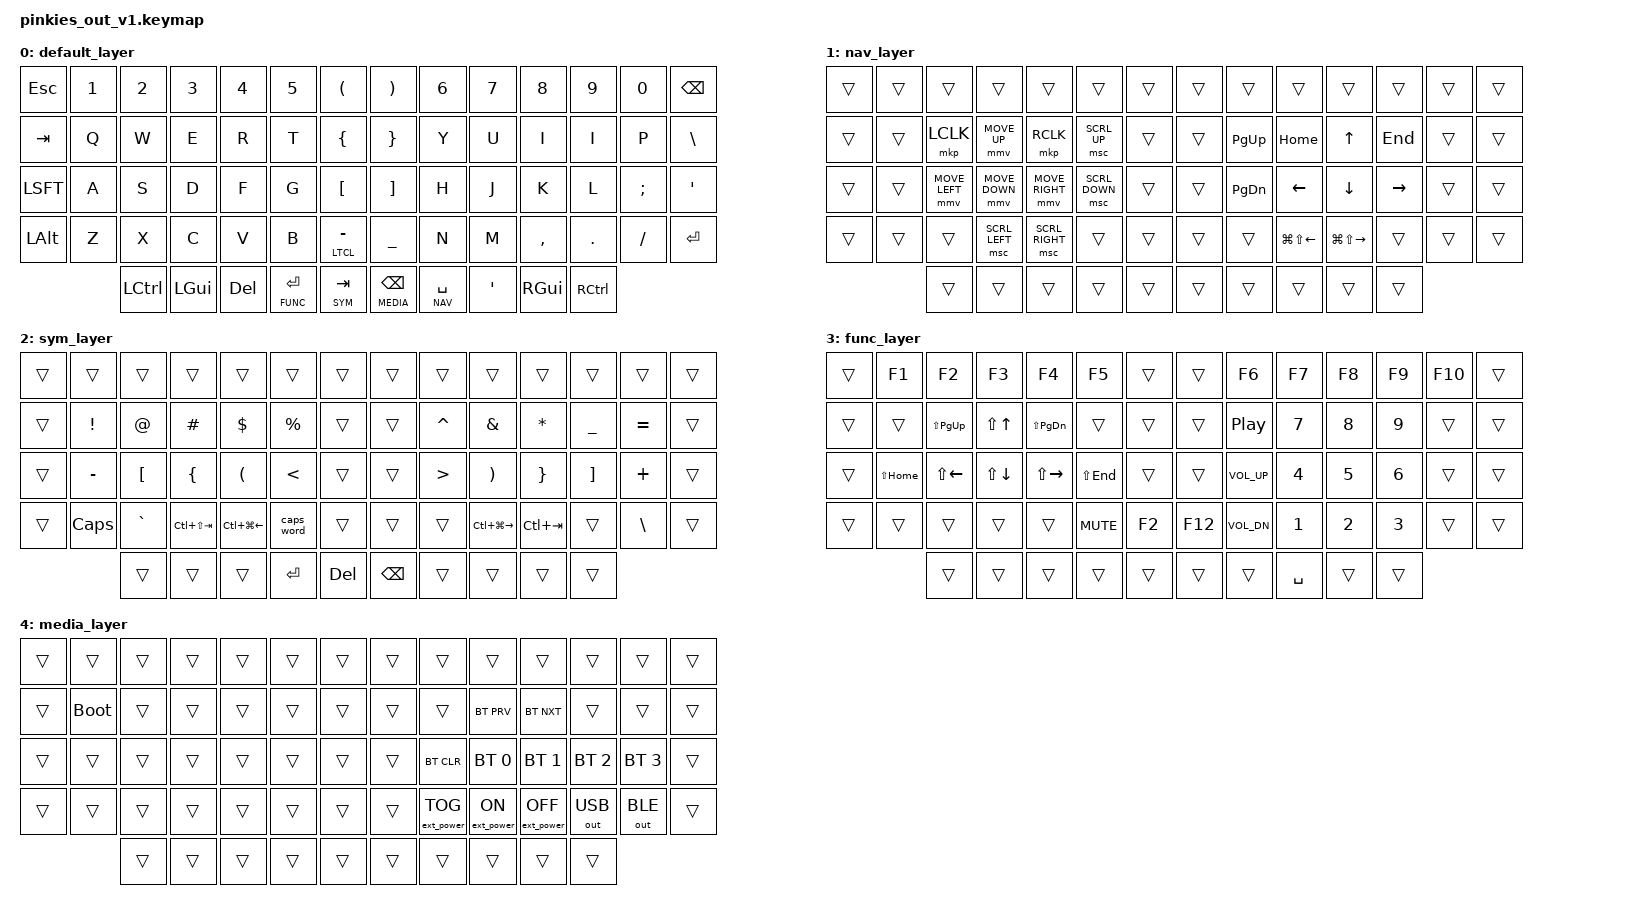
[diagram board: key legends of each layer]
#include <behaviors.dtsi>
#include <dt-bindings/zmk/keys.h>
#include <dt-bindings/zmk/bt.h>
#include <dt-bindings/zmk/ext_power.h>
#include <dt-bindings/zmk/outputs.h>
#include <dt-bindings/zmk/mouse.h>
#include <behaviors/mouse_keys.dtsi>
#include <dt-bindings/zmk/pointing.h>

#define ZMK_POINTING_DEFAULT_MOVE_VAL 600
#define ZMK_POINTING_DEFAULT_SCRL_VAL 10

#define DEFAULT 0
#define NAV     1
#define SYM     2
#define FUNC    3
#define MEDIA   4
#define WINNAV  5

&caps_word {
    continue-list = <UNDERSCORE MINUS>;
};

/ {
    behaviors {
        lt: layer_tap {
            compatible = "zmk,behavior-hold-tap";
            #binding-cells = <2>;
            tapping-term-ms = <150>; 
            quick-tap-ms = <120>;
            flavor = "balanced";
            bindings = <&mo>, <&kp>;
        };
    };


    keymap {
        compatible = "zmk,keymap";

        default_layer {
            bindings = <
    &kp ESC    &kp N1      &kp N2      &kp N3      &kp N4        &kp N5       &kp LPAR             &kp RPAR        &kp N6         &kp N7        &kp N8        &kp N9      &kp N0      &kp BSPC
    &kp TAB    &kp Q       &kp W       &kp E       &kp R         &kp T        &kp LBRC             &kp RBRC        &kp Y          &kp U         &kp I         &kp I       &kp P       &kp BSLH
    &kp LSFT   &kp A       &kp S       &kp D       &kp F         &kp G        &kp LBKT             &kp RBKT        &kp H          &kp J         &kp K         &kp L       &kp SEMI    &kp SQT
    &kp LALT   &kp Z       &kp X       &kp C       &kp V         &kp B        &mt LTCL MINUS       &kp UNDER       &kp N          &kp M         &kp COMMA     &kp DOT     &kp FSLH    &kp RET
                           &kp LCTL    &kp LGUI    &kp DEL       &lt FUNC RET &lt SYM TAB          &lt MEDIA BSPC  &lt NAV SPACE  &kp SQT       &kp RGUI      &kp RCTL
            >;
        };

        nav_layer {
            bindings = <
    &trans  &trans      &trans         &trans         &trans          &trans         &trans               &trans     &trans        &trans           &trans            &trans      &trans      &trans
    &trans  &trans      &mkp LCLK      &mmv MOVE_UP   &mkp RCLK       &msc SCRL_UP   &trans               &trans     &kp PG_UP     &kp HOME         &kp UP            &kp END     &trans      &trans
    &trans  &trans      &mmv MOVE_LEFT &mmv MOVE_DOWN &mmv MOVE_RIGHT &msc SCRL_DOWN &trans               &trans     &kp PG_DN     &kp LEFT         &kp DOWN          &kp RIGHT   &trans      &trans
    &trans  &trans      &trans         &msc SCRL_LEFT &msc SCRL_RIGHT &trans         &trans               &trans     &trans        &kp LG(LS(LEFT)) &kp LG(LS(RIGHT)) &trans      &trans      &trans
                        &trans         &trans         &trans          &trans         &trans               &trans     &trans        &trans           &trans            &trans
            >;
        };

        sym_layer {
            bindings = <
    &trans     &trans       &trans       &trans          &trans           &trans        &trans         &trans         &trans        &trans            &trans        &trans      &trans      &trans
    &trans     &kp EXCL     &kp AT       &kp HASH        &kp DLLR         &kp PRCNT     &trans         &trans         &kp CARET     &kp AMPS          &kp ASTRK     &kp UNDER   &kp EQUAL   &trans
    &trans     &kp MINUS    &kp LBKT     &kp LBRC        &kp LPAR         &kp LT        &trans         &trans         &kp GT        &kp RPAR          &kp RBRC      &kp RBKT    &kp PLUS    &trans
    &trans     &kp CAPS     &kp GRAVE    &kp LC(LS(TAB)) &kp LC(LG(LEFT)) &caps_word    &trans         &trans         &trans        &kp LC(LG(RIGHT)) &kp LC(TAB)   &trans      &kp BSLH    &trans
                            &trans       &trans          &trans           &kp RET       &kp DEL        &kp BSPC       &trans        &trans            &trans        &trans
            >;
        };

        func_layer {
            bindings = <
    &trans     &kp F1       &kp F2        &kp F3       &kp F4        &kp F5        &trans             &trans     &kp F6           &kp F7       &kp F8        &kp F9      &kp F10    &trans
    &trans     &trans       &kp LS(PG_UP) &kp LS(UP)   &kp LS(PG_DN) &trans        &trans             &trans     &kp C_PLAY_PAUSE &kp N7       &kp N8        &kp N9      &trans     &trans
    &trans     &kp LS(HOME) &kp LS(LEFT)  &kp LS(DOWN) &kp LS(RIGHT) &kp LS(END)   &trans             &trans     &kp K_VOL_UP     &kp N4       &kp N5        &kp N6      &trans     &trans
    &trans     &trans       &trans        &trans       &trans        &kp C_MUTE    &kp F2             &kp F12    &kp K_VOL_DN     &kp N1       &kp N2        &kp N3      &trans     &trans
                            &trans        &trans       &trans        &trans        &trans             &trans     &trans           &kp SPACE    &trans        &trans
            >;
        };

        media_layer {
            bindings = <
    &trans     &trans      &trans         &trans       &trans        &trans        &trans             &trans     &trans             &trans            &trans             &trans         &trans          &trans
    &trans     &bootloader &trans         &trans       &trans        &trans        &trans             &trans     &trans             &bt BT_PRV        &bt BT_NXT         &trans         &trans          &trans
    &trans     &trans      &trans         &trans       &trans        &trans        &trans             &trans     &bt BT_CLR         &bt BT_SEL 0      &bt BT_SEL 1       &bt BT_SEL 2   &bt BT_SEL 3    &trans
    &trans     &trans      &trans         &trans       &trans        &trans        &trans             &trans     &ext_power EP_TOG  &ext_power EP_ON  &ext_power EP_OFF  &out OUT_USB   &out OUT_BLE    &trans
                           &trans         &trans       &trans        &trans        &trans             &trans     &trans             &trans            &trans             &trans
            >;
        };
    };
};
